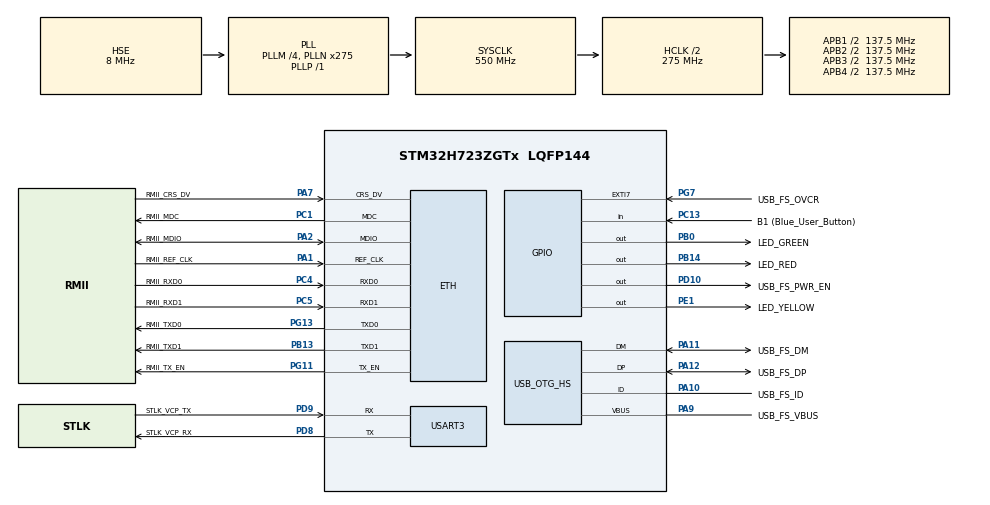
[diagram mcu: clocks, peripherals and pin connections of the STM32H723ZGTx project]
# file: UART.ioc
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ETH.MediaInterface=HAL_ETH_RMII_MODE
Mcu.Family=STM32H7
Mcu.Name=STM32H723ZGTx
Mcu.Package=LQFP144
NVIC.PriorityGroup=NVIC_PRIORITYGROUP_4
NVIC.USART3_IRQn=true\:0\:0\:false\:false\:true\:true\:true
PA1.GPIO_Label=RMII_REF_CLK
PA1.Mode=RMII
PA1.Signal=ETH_REF_CLK
PA10.GPIO_Label=USB_FS_ID
PA10.Mode=OTG/Dual-Role-Device-FS
PA10.Signal=USB_OTG_HS_ID
PA11.GPIO_Label=USB_FS_DM
PA11.Mode=OTG/Dual-Role-Device-FS
PA11.Signal=USB_OTG_HS_DM
PA12.GPIO_Label=USB_FS_DP
PA12.Mode=OTG/Dual-Role-Device-FS
PA12.Signal=USB_OTG_HS_DP
PA13(JTMS/SWDIO).GPIO_Label=SWDIO
PA13(JTMS/SWDIO).Mode=Trace_Asynchronous_SW
PA13(JTMS/SWDIO).Signal=DEBUG_JTMS-SWDIO
PA14(JTCK/SWCLK).GPIO_Label=SWCLK
PA14(JTCK/SWCLK).Mode=Trace_Asynchronous_SW
PA14(JTCK/SWCLK).Signal=DEBUG_JTCK-SWCLK
PA2.GPIO_Label=RMII_MDIO
PA2.Mode=RMII
PA2.Signal=ETH_MDIO
PA7.GPIO_Label=RMII_CRS_DV
PA7.Mode=RMII
PA7.Signal=ETH_CRS_DV
PA9.GPIO_Label=USB_FS_VBUS
PA9.Mode=Activate_VBUS_FS
PA9.Signal=USB_OTG_HS_VBUS
PB0.GPIO_Label=LED_GREEN
PB0.Signal=GPIO_Output
PB13.GPIO_Label=RMII_TXD1
PB13.Mode=RMII
PB13.Signal=ETH_TXD1
PB14.GPIO_Label=LED_RED
PB14.Signal=GPIO_Output
PB3(JTDO/TRACESWO).GPIO_Label=SWO
PB3(JTDO/TRACESWO).Mode=Trace_Asynchronous_SW
PB3(JTDO/TRACESWO).Signal=DEBUG_JTDO-SWO
PC1.GPIO_Label=RMII_MDC
PC1.Mode=RMII
PC1.Signal=ETH_MDC
PC13.GPIO_Label=B1 (Blue_User_Button)
PC13.Signal=GPIO_Input
PC14-OSC32_IN.Mode=LSE-External-Oscillator
PC14-OSC32_IN.Signal=RCC_OSC32_IN
PC15-OSC32_OUT.Mode=LSE-External-Oscillator
PC15-OSC32_OUT.Signal=RCC_OSC32_OUT
PC4.GPIO_Label=RMII_RXD0
PC4.Mode=RMII
PC4.Signal=ETH_RXD0
PC5.GPIO_Label=RMII_RXD1
PC5.Mode=RMII
PC5.Signal=ETH_RXD1
PD10.GPIO_Label=USB_FS_PWR_EN
PD10.Signal=GPIO_Output
PD8.GPIO_Label=STLK_VCP_RX
PD8.Mode=Asynchronous
PD8.Signal=USART3_TX
PD9.GPIO_Label=STLK_VCP_TX
PD9.Mode=Asynchronous
PD9.Signal=USART3_RX
PE1.GPIO_Label=LED_YELLOW
PE1.Signal=GPIO_Output
PG11.GPIO_Label=RMII_TX_EN
PG11.Mode=RMII
PG11.Signal=ETH_TX_EN
PG13.GPIO_Label=RMII_TXD0
PG13.Mode=RMII
PG13.Signal=ETH_TXD0
PG7.GPIO_Label=USB_FS_OVCR
PG7.Signal=GPXTI7
PH0-OSC_IN.GPIO_Label=MCO
PH0-OSC_IN.Mode=HSE-External-Clock-Source
PH0-OSC_IN.Signal=RCC_OSC_IN
PH1-OSC_OUT.Signal=RCC_OSC_OUT
ProjectManager.HeapSize=0x200
ProjectManager.StackSize=0x400
ProjectManager.TargetToolchain=STM32CubeIDE
RCC.ADCFreq_Value=76000000
RCC.APB1Freq_Value=137500000
RCC.APB2Freq_Value=137500000
RCC.APB3Freq_Value=137500000
RCC.APB4Freq_Value=137500000
RCC.CortexFreq_Value=550000000
RCC.D1PPRE=RCC_APB3_DIV2
RCC.D2PPRE1=RCC_APB1_DIV2
RCC.D2PPRE2=RCC_APB2_DIV2
RCC.D3PPRE=RCC_APB4_DIV2
RCC.DIVM1=4
RCC.DIVM2=1
RCC.DIVN1=275
RCC.DIVN2=19
RCC.DIVP1=1
RCC.DIVQ1=4
RCC.HCLKFreq_Value=275000000
RCC.HPRE=RCC_HCLK_DIV2
RCC.HSE_VALUE=8000000
RCC.PLLFRACN=0
RCC.PLLSourceVirtual=RCC_PLLSOURCE_HSE
RCC.SYSCLKFreq_VALUE=550000000
RCC.SYSCLKSource=RCC_SYSCLKSOURCE_PLLCLK
RCC.USBCLockSelection=RCC_USBCLKSOURCE_HSI48
RCC.USBFreq_Value=48000000
USART3.VirtualMode-Asynchronous=VM_ASYNC
board=NUCLEO-H723ZG

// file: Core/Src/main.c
/* USER CODE BEGIN Header */
/**
  ******************************************************************************
  * @file           : main.c
  * @brief          : Main program body
  ******************************************************************************
  * @attention
  *
  * <h2><center>&copy; Copyright (c) 2025 STMicroelectronics.
  * All rights reserved.</center></h2>
  *
  * This software component is licensed by ST under BSD 3-Clause license,
  * the "License"; You may not use this file except in compliance with the
  * License. You may obtain a copy of the License at:
  *                        opensource.org/licenses/BSD-3-Clause
  *
  ******************************************************************************
  */
/* USER CODE END Header */
#include "main.h"
#include "string.h"

#if defined ( __ICCARM__ ) /*!< IAR Compiler */

#pragma location=0x30040000
ETH_DMADescTypeDef  DMARxDscrTab[ETH_RX_DESC_CNT]; /* Ethernet Rx DMA Descriptors */
#pragma location=0x30040060
ETH_DMADescTypeDef  DMATxDscrTab[ETH_TX_DESC_CNT]; /* Ethernet Tx DMA Descriptors */
#pragma location=0x30040200
uint8_t Rx_Buff[ETH_RX_DESC_CNT][ETH_MAX_PACKET_SIZE]; /* Ethernet Receive Buffers */

#elif defined ( __CC_ARM )  /* MDK ARM Compiler */

__attribute__((at(0x30040000))) ETH_DMADescTypeDef  DMARxDscrTab[ETH_RX_DESC_CNT]; /* Ethernet Rx DMA Descriptors */
__attribute__((at(0x30040060))) ETH_DMADescTypeDef  DMATxDscrTab[ETH_TX_DESC_CNT]; /* Ethernet Tx DMA Descriptors */
__attribute__((at(0x30040200))) uint8_t Rx_Buff[ETH_RX_DESC_CNT][ETH_MAX_PACKET_SIZE]; /* Ethernet Receive Buffer */

#elif defined ( __GNUC__ ) /* GNU Compiler */

ETH_DMADescTypeDef DMARxDscrTab[ETH_RX_DESC_CNT] __attribute__((section(".RxDecripSection"))); /* Ethernet Rx DMA Descriptors */
ETH_DMADescTypeDef DMATxDscrTab[ETH_TX_DESC_CNT] __attribute__((section(".TxDecripSection")));   /* Ethernet Tx DMA Descriptors */
uint8_t Rx_Buff[ETH_RX_DESC_CNT][ETH_MAX_PACKET_SIZE] __attribute__((section(".RxArraySection"))); /* Ethernet Receive Buffers */

#endif

ETH_TxPacketConfig TxConfig;

ETH_HandleTypeDef heth;

UART_HandleTypeDef huart3;

/* USER CODE BEGIN PV */
uint8_t tx_buffer[27]="Welcome to BinaryUpdates!\n\r";
uint8_t rx_indx;
uint8_t rx_data[2];
uint8_t rx_buffer[100];
uint8_t transfer_cplt;
/* USER CODE END PV */

void SystemClock_Config(void);
static void MX_GPIO_Init(void);
static void MX_ETH_Init(void);
static void MX_USART3_UART_Init(void);
static void MX_USB_OTG_HS_USB_Init(void);

int main(void)
{

  /* MCU Configuration--------------------------------------------------------*/

  /* Reset of all peripherals, Initializes the Flash interface and the Systick. */
  HAL_Init();

  /* Configure the system clock */
  SystemClock_Config();

  /* Initialize all configured peripherals */
  MX_GPIO_Init();
  MX_ETH_Init();
  MX_USART3_UART_Init();
  MX_USB_OTG_HS_USB_Init();

  /* Infinite loop */
  while (1)
  {

    /* USER CODE BEGIN 3 */
//	  HAL_UART_Transmit(&huart3,tx_buffer,27,10);
//	  HAL_Delay(500);
	  HAL_UART_Receive_IT(&huart3,rx_data,1);
  }
  /* USER CODE END 3 */
}

void SystemClock_Config(void)
{
  RCC_OscInitTypeDef RCC_OscInitStruct = {0};
  RCC_ClkInitTypeDef RCC_ClkInitStruct = {0};

  /** Supply configuration update enable
  */
  HAL_PWREx_ConfigSupply(PWR_LDO_SUPPLY);
  /** Configure the main internal regulator output voltage
  */
  __HAL_PWR_VOLTAGESCALING_CONFIG(PWR_REGULATOR_VOLTAGE_SCALE0);

  while(!__HAL_PWR_GET_FLAG(PWR_FLAG_VOSRDY)) {}
  /** Initializes the RCC Oscillators according to the specified parameters
  * in the RCC_OscInitTypeDef structure.
  */
  RCC_OscInitStruct.OscillatorType = RCC_OSCILLATORTYPE_HSI48|RCC_OSCILLATORTYPE_HSE;
  RCC_OscInitStruct.HSEState = RCC_HSE_BYPASS;
  RCC_OscInitStruct.HSI48State = RCC_HSI48_ON;
  RCC_OscInitStruct.PLL.PLLState = RCC_PLL_ON;
  RCC_OscInitStruct.PLL.PLLSource = RCC_PLLSOURCE_HSE;
  RCC_OscInitStruct.PLL.PLLM = 4;
  RCC_OscInitStruct.PLL.PLLN = 275;
  RCC_OscInitStruct.PLL.PLLP = 1;
  RCC_OscInitStruct.PLL.PLLQ = 4;
  RCC_OscInitStruct.PLL.PLLR = 2;
  RCC_OscInitStruct.PLL.PLLRGE = RCC_PLL1VCIRANGE_1;
  RCC_OscInitStruct.PLL.PLLVCOSEL = RCC_PLL1VCOWIDE;
  RCC_OscInitStruct.PLL.PLLFRACN = 0;
  if (HAL_RCC_OscConfig(&RCC_OscInitStruct) != HAL_OK)
  {
    Error_Handler();
  }
  /** Initializes the CPU, AHB and APB buses clocks
  */
  RCC_ClkInitStruct.ClockType = RCC_CLOCKTYPE_HCLK|RCC_CLOCKTYPE_SYSCLK
                              |RCC_CLOCKTYPE_PCLK1|RCC_CLOCKTYPE_PCLK2
                              |RCC_CLOCKTYPE_D3PCLK1|RCC_CLOCKTYPE_D1PCLK1;
  RCC_ClkInitStruct.SYSCLKSource = RCC_SYSCLKSOURCE_PLLCLK;
  RCC_ClkInitStruct.SYSCLKDivider = RCC_SYSCLK_DIV1;
  RCC_ClkInitStruct.AHBCLKDivider = RCC_HCLK_DIV2;
  RCC_ClkInitStruct.APB3CLKDivider = RCC_APB3_DIV2;
  RCC_ClkInitStruct.APB1CLKDivider = RCC_APB1_DIV2;
  RCC_ClkInitStruct.APB2CLKDivider = RCC_APB2_DIV2;
  RCC_ClkInitStruct.APB4CLKDivider = RCC_APB4_DIV2;

  if (HAL_RCC_ClockConfig(&RCC_ClkInitStruct, FLASH_LATENCY_3) != HAL_OK)
  {
    Error_Handler();
  }
}

static void MX_ETH_Init(void)
{

   static uint8_t MACAddr[6];

  heth.Instance = ETH;
  MACAddr[0] = 0x00;
  MACAddr[1] = 0x80;
  MACAddr[2] = 0xE1;
  MACAddr[3] = 0x00;
  MACAddr[4] = 0x00;
  MACAddr[5] = 0x00;
  heth.Init.MACAddr = &MACAddr[0];
  heth.Init.MediaInterface = HAL_ETH_RMII_MODE;
  heth.Init.TxDesc = DMATxDscrTab;
  heth.Init.RxDesc = DMARxDscrTab;
  heth.Init.RxBuffLen = 1524;

  if (HAL_ETH_Init(&heth) != HAL_OK)
  {
    Error_Handler();
  }

  memset(&TxConfig, 0 , sizeof(ETH_TxPacketConfig));
  TxConfig.Attributes = ETH_TX_PACKETS_FEATURES_CSUM | ETH_TX_PACKETS_FEATURES_CRCPAD;
  TxConfig.ChecksumCtrl = ETH_CHECKSUM_IPHDR_PAYLOAD_INSERT_PHDR_CALC;
  TxConfig.CRCPadCtrl = ETH_CRC_PAD_INSERT;

}

static void MX_USART3_UART_Init(void)
{

  huart3.Instance = USART3;
  huart3.Init.BaudRate = 115200;
  huart3.Init.WordLength = UART_WORDLENGTH_8B;
  huart3.Init.StopBits = UART_STOPBITS_1;
  huart3.Init.Parity = UART_PARITY_NONE;
  huart3.Init.Mode = UART_MODE_TX_RX;
  huart3.Init.HwFlowCtl = UART_HWCONTROL_NONE;
  huart3.Init.OverSampling = UART_OVERSAMPLING_16;
  huart3.Init.OneBitSampling = UART_ONE_BIT_SAMPLE_DISABLE;
  huart3.Init.ClockPrescaler = UART_PRESCALER_DIV1;
  huart3.AdvancedInit.AdvFeatureInit = UART_ADVFEATURE_NO_INIT;
  if (HAL_UART_Init(&huart3) != HAL_OK)
  {
    Error_Handler();
  }
  if (HAL_UARTEx_SetTxFifoThreshold(&huart3, UART_TXFIFO_THRESHOLD_1_8) != HAL_OK)
  {
    Error_Handler();
  }
  if (HAL_UARTEx_SetRxFifoThreshold(&huart3, UART_RXFIFO_THRESHOLD_1_8) != HAL_OK)
  {
    Error_Handler();
  }
  if (HAL_UARTEx_DisableFifoMode(&huart3) != HAL_OK)
  {
    Error_Handler();
  }

}

static void MX_USB_OTG_HS_USB_Init(void)
{

}

static void MX_GPIO_Init(void)
{
  GPIO_InitTypeDef GPIO_InitStruct = {0};

  /* GPIO Ports Clock Enable */
  __HAL_RCC_GPIOC_CLK_ENABLE();
  __HAL_RCC_GPIOH_CLK_ENABLE();
  __HAL_RCC_GPIOA_CLK_ENABLE();
  __HAL_RCC_GPIOB_CLK_ENABLE();
  __HAL_RCC_GPIOD_CLK_ENABLE();
  __HAL_RCC_GPIOG_CLK_ENABLE();
  __HAL_RCC_GPIOE_CLK_ENABLE();

  /*Configure GPIO pin Output Level */
  HAL_GPIO_WritePin(GPIOB, LED_GREEN_Pin|LED_RED_Pin, GPIO_PIN_RESET);

  /*Configure GPIO pin Output Level */
  HAL_GPIO_WritePin(USB_FS_PWR_EN_GPIO_Port, USB_FS_PWR_EN_Pin, GPIO_PIN_RESET);

  /*Configure GPIO pin Output Level */
  HAL_GPIO_WritePin(LED_YELLOW_GPIO_Port, LED_YELLOW_Pin, GPIO_PIN_RESET);

  /*Configure GPIO pin : B1_Pin */
  GPIO_InitStruct.Pin = B1_Pin;
  GPIO_InitStruct.Mode = GPIO_MODE_INPUT;
  GPIO_InitStruct.Pull = GPIO_NOPULL;
  HAL_GPIO_Init(B1_GPIO_Port, &GPIO_InitStruct);

  /*Configure GPIO pins : LED_GREEN_Pin LED_RED_Pin */
  GPIO_InitStruct.Pin = LED_GREEN_Pin|LED_RED_Pin;
  GPIO_InitStruct.Mode = GPIO_MODE_OUTPUT_PP;
  GPIO_InitStruct.Pull = GPIO_NOPULL;
  GPIO_InitStruct.Speed = GPIO_SPEED_FREQ_LOW;
  HAL_GPIO_Init(GPIOB, &GPIO_InitStruct);

  /*Configure GPIO pin : USB_FS_PWR_EN_Pin */
  GPIO_InitStruct.Pin = USB_FS_PWR_EN_Pin;
  GPIO_InitStruct.Mode = GPIO_MODE_OUTPUT_PP;
  GPIO_InitStruct.Pull = GPIO_NOPULL;
  GPIO_InitStruct.Speed = GPIO_SPEED_FREQ_LOW;
  HAL_GPIO_Init(USB_FS_PWR_EN_GPIO_Port, &GPIO_InitStruct);

  /*Configure GPIO pin : USB_FS_OVCR_Pin */
  GPIO_InitStruct.Pin = USB_FS_OVCR_Pin;
  GPIO_InitStruct.Mode = GPIO_MODE_IT_RISING;
  GPIO_InitStruct.Pull = GPIO_NOPULL;
  HAL_GPIO_Init(USB_FS_OVCR_GPIO_Port, &GPIO_InitStruct);

  /*Configure GPIO pin : USB_FS_VBUS_Pin */
  GPIO_InitStruct.Pin = USB_FS_VBUS_Pin;
  GPIO_InitStruct.Mode = GPIO_MODE_INPUT;
  GPIO_InitStruct.Pull = GPIO_NOPULL;
  HAL_GPIO_Init(USB_FS_VBUS_GPIO_Port, &GPIO_InitStruct);

  /*Configure GPIO pin : USB_FS_ID_Pin */
  GPIO_InitStruct.Pin = USB_FS_ID_Pin;
  GPIO_InitStruct.Mode = GPIO_MODE_AF_PP;
  GPIO_InitStruct.Pull = GPIO_NOPULL;
  GPIO_InitStruct.Speed = GPIO_SPEED_FREQ_LOW;
  GPIO_InitStruct.Alternate = GPIO_AF10_OTG1_HS;
  HAL_GPIO_Init(USB_FS_ID_GPIO_Port, &GPIO_InitStruct);

  /*Configure GPIO pin : LED_YELLOW_Pin */
  GPIO_InitStruct.Pin = LED_YELLOW_Pin;
  GPIO_InitStruct.Mode = GPIO_MODE_OUTPUT_PP;
  GPIO_InitStruct.Pull = GPIO_NOPULL;
  GPIO_InitStruct.Speed = GPIO_SPEED_FREQ_LOW;
  HAL_GPIO_Init(LED_YELLOW_GPIO_Port, &GPIO_InitStruct);

}

/* USER CODE BEGIN 4 */
void HAL_UART_RxCpltCallback(UART_HandleTypeDef *huart)
{
 /* Prevent unused argument(s) compilation warning */
 UNUSED(huart);

 /* NOTE : This function should not be modified, when the callback is needed,
           the HAL_UART_RxCpltCallback can be implemented in the user file.
  */
uint8_t i;
if(huart->Instance==USART3){
	if(rx_indx==0){
		for(i=0;i<100;i++){
			rx_buffer[i]=0;
			HAL_GPIO_WritePin(GPIOB,GPIO_PIN_1,GPIO_PIN_RESET);
		}

	}
	if(rx_data[0]!=13){
		rx_buffer[rx_indx++]=rx_data[0];

	}else{
		rx_indx=0;
		transfer_cplt=1;
		HAL_UART_Transmit(&huart3,"\n\r",2,100);
		if(!strcmp(rx_buffer,"LED ON"))
		{
			HAL_GPIO_WritePin(LED_YELLOW_GPIO_Port,LED_YELLOW_Pin,GPIO_PIN_SET);
		}
		if(!strcmp(rx_buffer,"LED OFF"))
				{
					HAL_GPIO_WritePin(LED_YELLOW_GPIO_Port,LED_YELLOW_Pin,GPIO_PIN_RESET);
				}

	}
	HAL_UART_Receive_IT(&huart3,rx_data,1);
	HAL_UART_Transmit(&huart3,rx_data,strlen(rx_data),100);
}
}
/* USER CODE END 4 */

void Error_Handler(void)
{
  __disable_irq();
  while (1)
  {
  }
}

/************************ (C) COPYRIGHT STMicroelectronics *****END OF FILE****/
